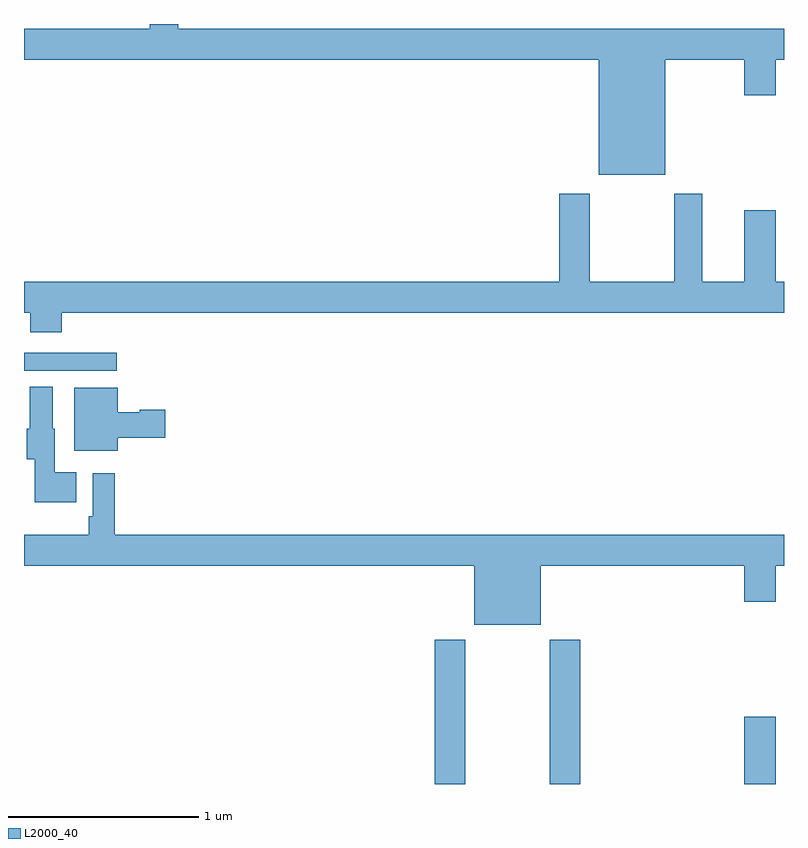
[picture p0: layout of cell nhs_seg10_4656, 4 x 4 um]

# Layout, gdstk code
import gdstk
lib = gdstk.Library(unit=1e-6, precision=1e-09)
def R(c, l, rs):  # rectangles x0, y0, x1, y1
    for r in rs: c.add(gdstk.rectangle(r[:2], r[2:], *l))
def P(c, l, *ps):  # polygons
    for p in ps: c.add(gdstk.Polygon(p, *l))
L2000_40 = (2000, 40)

nhs_seg10_4656 = lib.new_cell('nhs_seg10_4656')
R(nhs_seg10_4656, L2000_40, [(379.163,1300.5,379.323,1301.26), (379.768,1300.5,379.928,1301.26), (380.792,1300.5,380.956,1300.855), (377,1302.675,377.488,1302.771)])
P(nhs_seg10_4656, L2000_40, [(377.663,1304.5),(377.663,1304.476),(377,1304.476),(377,1304.312),(380.024,1304.312),(380.024,1303.706),(380.374,1303.706),(380.374,1304.312),(380.792,1304.312),(380.792,1304.124),(380.956,1304.124),(380.956,1304.312),(381,1304.312),(381,1304.476),(377.811,1304.476),(377.811,1304.5)],
  [(377.198,1302.98),(381,1302.98),(381,1303.144),(380.956,1303.144),(380.956,1303.519),(380.792,1303.519),(380.792,1303.144),(380.569,1303.144),(380.569,1303.606),(380.422,1303.606),(380.422,1303.144),(379.977,1303.144),(379.977,1303.606),(379.817,1303.606),(379.817,1303.144),(377,1303.144),(377,1302.98),(377.033,1302.98),(377.033,1302.878),(377.198,1302.878)],
  [(377.276,1302.142),(377.161,1302.142),(377.161,1302.369),(377.152,1302.369),(377.152,1302.59),(377.03,1302.59),(377.03,1302.369),(377.015,1302.369),(377.015,1302.21),(377.057,1302.21),(377.057,1301.984),(377.276,1301.984)],
  [(377.494,1302.323),(377.743,1302.323),(377.743,1302.47),(377.61,1302.47),(377.61,1302.457),(377.494,1302.457),(377.494,1302.586),(377.264,1302.586),(377.264,1302.254),(377.494,1302.254)],
  [(379.72,1301.648),(380.792,1301.648),(380.792,1301.46),(380.956,1301.46),(380.956,1301.648),(381,1301.648),(381,1301.812),(377.477,1301.812),(377.477,1302.136),(377.361,1302.136),(377.361,1301.908),(377.341,1301.908),(377.341,1301.812),(377,1301.812),(377,1301.648),(379.37,1301.648),(379.37,1301.339),(379.72,1301.339)])

lib.write_gds('nhs_seg10_4656.gds')
